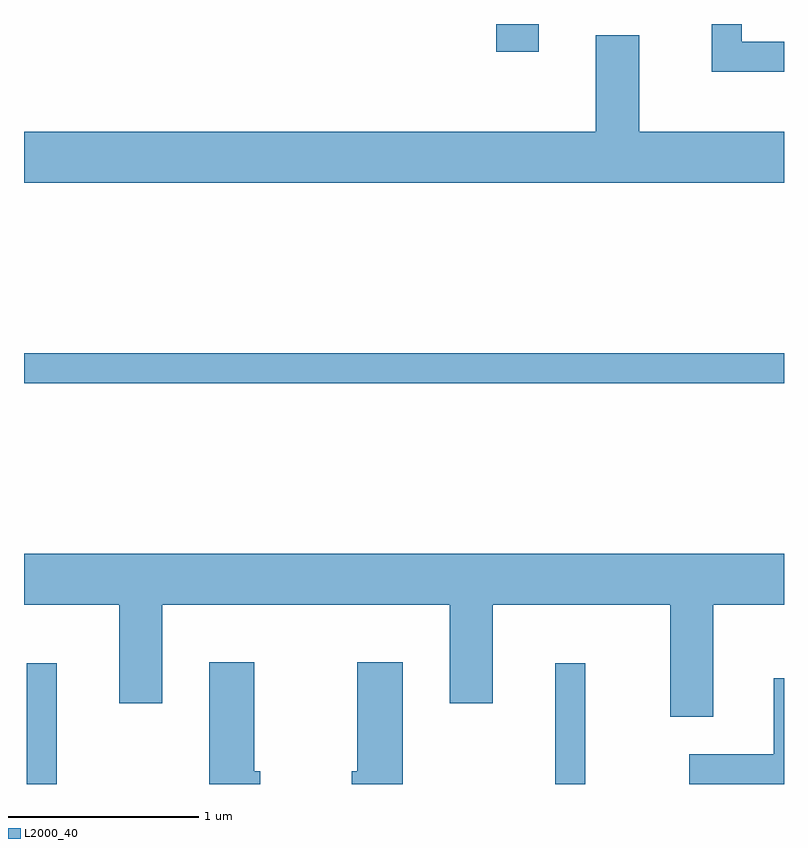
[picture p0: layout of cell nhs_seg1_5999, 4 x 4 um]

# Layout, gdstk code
import gdstk
lib = gdstk.Library(unit=1e-6, precision=1e-09)
def R(c, l, rs):  # rectangles x0, y0, x1, y1
    for r in rs: c.add(gdstk.rectangle(r[:2], r[2:], *l))
def P(c, l, *ps):  # polygons
    for p in ps: c.add(gdstk.Polygon(p, *l))
L2000_40 = (2000, 40)

nhs_seg1_5999 = lib.new_cell('nhs_seg1_5999')
R(nhs_seg1_5999, L2000_40, [(365.626,929.712,365.784,930.348), (368.406,929.712,368.564,930.348), (365.611,931.821,369.611,931.979), (368.096,933.566,368.319,933.712)])
P(nhs_seg1_5999, L2000_40, [(369.611,933.619),(369.389,933.619),(369.389,933.712),(369.231,933.712),(369.231,933.461),(369.611,933.461)],
  [(369.611,933.144),(368.849,933.144),(368.849,933.654),(368.621,933.654),(368.621,933.144),(365.611,933.144),(365.611,932.876),(369.611,932.876)],
  [(369.239,930.656),(369.611,930.656),(369.611,930.924),(365.611,930.924),(365.611,930.656),(366.111,930.656),(366.111,930.136),(366.339,930.136),(366.339,930.656),(367.851,930.656),(367.851,930.136),(368.079,930.136),(368.079,930.656),(369.011,930.656),(369.011,930.066),(369.239,930.066)],
  [(366.854,929.779),(366.824,929.779),(366.824,930.354),(366.586,930.354),(366.586,929.712),(366.854,929.712)],
  [(367.604,930.354),(367.366,930.354),(367.366,929.779),(367.336,929.779),(367.336,929.712),(367.604,929.712)],
  [(369.611,930.269),(369.556,930.269),(369.556,929.869),(369.113,929.869),(369.113,929.712),(369.611,929.712)])

lib.write_gds('nhs_seg1_5999.gds')
